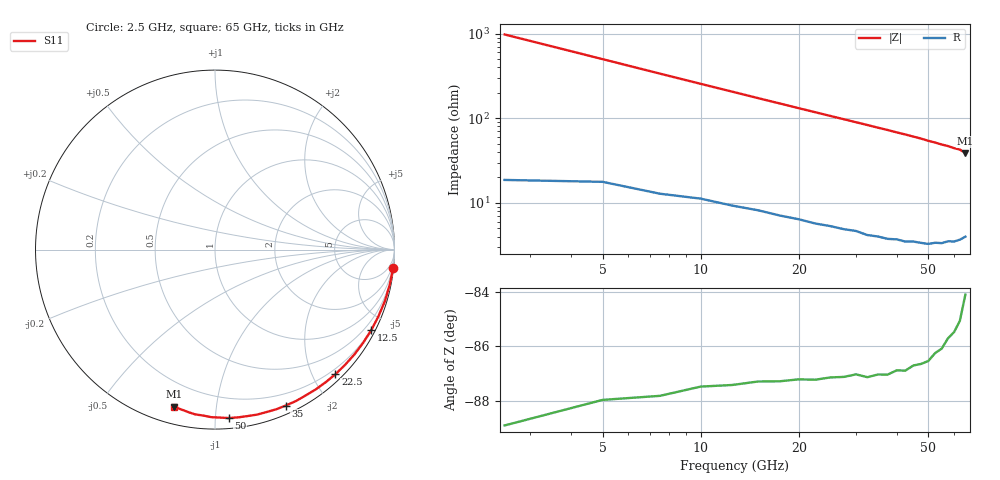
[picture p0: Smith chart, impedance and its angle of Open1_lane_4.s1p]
! File created by SignalIntegrity v1.5.1: Signal and Power Integrity Tools
! https://github.com/Nubis-Communications/SignalIntegrity
# MHz S MA R 50.0
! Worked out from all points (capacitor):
!   26 points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, 2.5 GHz to 65 GHz, reference 50 ohm
!   read as one part to ground: C = 63.8 fF near 2.5 GHz
!   lowest |Z| = 38.7 ohm at 65 GHz (marker M1)
!   S11 on the Smith chart (normalised r, x): 2.5 GHz: 0, -20; 12.5 GHz: 0.19, -4.12; 22.5 GHz: 0.11, -2.35; 35 GHz: 0.08, -1.55; 50 GHz: 0.07, -1.08; 65 GHz: 0.08, -0.77
2500  0.9981 -5.9
5000  0.993 -11.4
7500  0.989 -16.9
10000  0.9835 -22.2
12500  0.9796 -27.2
15000  0.9751 -32.2
17500  0.9719 -37.0
20000  0.9682 -41.6
22500  0.9657 -46.0
25000  0.9623 -50.2
27500  0.96 -54.3
30000  0.9568 -58.2
32500  0.9567 -62.0
35000  0.9539 -65.7
37500  0.9528 -69.0
40000  0.9493 -72.6
42500  0.9487 -75.7
45000  0.945 -79.0
47500  0.9436 -82.0
50000  0.9415 -85.4
52500  0.9365 -88.2
55000  0.9338 -91.3
57500  0.9277 -93.6
60000  0.9245 -96.9
62500  0.9183 -99.1
65000  0.9049 -104.5
